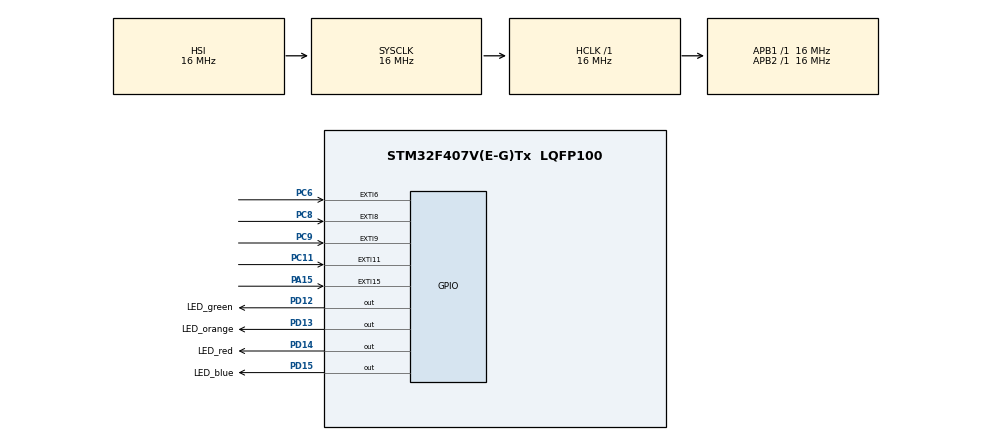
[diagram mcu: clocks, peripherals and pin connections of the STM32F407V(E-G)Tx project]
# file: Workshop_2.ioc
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Mcu.Family=STM32F4
Mcu.Name=STM32F407V(E-G)Tx
Mcu.Package=LQFP100
NVIC.EXTI15_10_IRQn=true\:0\:0\:false\:false\:true\:true\:true
NVIC.EXTI9_5_IRQn=true\:0\:0\:false\:false\:true\:true\:true
NVIC.PriorityGroup=NVIC_PRIORITYGROUP_4
PA15.GPIO_ModeDefaultEXTI=GPIO_MODE_IT_FALLING
PA15.Signal=GPXTI15
PC11.GPIO_ModeDefaultEXTI=GPIO_MODE_IT_FALLING
PC11.Signal=GPXTI11
PC6.GPIO_ModeDefaultEXTI=GPIO_MODE_IT_FALLING
PC6.Signal=GPXTI6
PC8.GPIO_ModeDefaultEXTI=GPIO_MODE_IT_FALLING
PC8.Signal=GPXTI8
PC9.GPIO_ModeDefaultEXTI=GPIO_MODE_IT_FALLING
PC9.Signal=GPXTI9
PD12.GPIO_Label=LED_green
PD12.Signal=GPIO_Output
PD13.GPIO_Label=LED_orange
PD13.Signal=GPIO_Output
PD14.GPIO_Label=LED_red
PD14.Signal=GPIO_Output
PD15.GPIO_Label=LED_blue
PD15.Signal=GPIO_Output
ProjectManager.HeapSize=0x200
ProjectManager.StackSize=0x400
ProjectManager.TargetToolchain=STM32CubeIDE
RCC.AHBFreq_Value=16000000
RCC.APB1Freq_Value=16000000
RCC.APB2Freq_Value=16000000
RCC.CortexFreq_Value=16000000
RCC.HSE_VALUE=25000000
RCC.HSI_VALUE=16000000
RCC.LSE_VALUE=32768
RCC.SYSCLKFreq_VALUE=16000000
RCC.VCOOutputFreq_Value=192000000
board=custom

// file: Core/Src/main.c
/* USER CODE BEGIN Header */
/**
  ******************************************************************************
  * @file           : main.c
  * @brief          : Main program body
  ******************************************************************************
  * @attention
  *
  * <h2><center>&copy; Copyright (c) 2021 STMicroelectronics.
  * All rights reserved.</center></h2>
  *
  * This software component is licensed by ST under BSD 3-Clause license,
  * the "License"; You may not use this file except in compliance with the
  * License. You may obtain a copy of the License at:
  *                        opensource.org/licenses/BSD-3-Clause
  *
  ******************************************************************************
  */
/* USER CODE END Header */
#include "main.h"

/* USER CODE BEGIN Includes */
#include "blink.h"
/* USER CODE END Includes */

/* USER CODE BEGIN PD */
#define SCHEME_NUM 3
/* USER CODE END PD */

void SystemClock_Config(void);
static void MX_GPIO_Init(void);

/* USER CODE BEGIN 0 */

volatile uint8_t current_scheme = 0;

volatile uint8_t stop_flag = 0;
volatile uint8_t change_flag = 0;
volatile uint32_t delay = 500;

void HAL_GPIO_EXTI_Callback(uint16_t GPIO_Pin)
{
	switch (GPIO_Pin)
	{
		case GPIO_PIN_11: //SW1 next
			if(current_scheme == SCHEME_NUM - 1) current_scheme = 0;
			else current_scheme++;
			change_flag = 1;
			break;
		case GPIO_PIN_9:  //SW3 prev
			if(current_scheme == 0) current_scheme = SCHEME_NUM - 1;
			else current_scheme--;
			change_flag = 1;
			break;
		case GPIO_PIN_6:  //SW4 speed up
			if((delay -= 50) < 50 ) delay = 50;

			break;
		case GPIO_PIN_8:  //SW5 speed down
			if((delay += 50) > 1000 )delay = 1000;

			break;
		case GPIO_PIN_15: //SW2 on/off
			if(stop_flag == 0) stop_flag = 1;
			else stop_flag = 0;
			break;
		default:
			break;
	}

}

/* USER CODE END 0 */

int main(void)
{
  /* USER CODE BEGIN 1 */
  void (*scheme_func_arr[3]) (volatile uint32_t *,volatile uint8_t *,volatile uint8_t *) = {blink_scheme_1,blink_scheme_2,blink_scheme_3};
  /* USER CODE END 1 */

  /* MCU Configuration--------------------------------------------------------*/

  /* Reset of all peripherals, Initializes the Flash interface and the Systick. */
  HAL_Init();

  /* Configure the system clock */
  SystemClock_Config();

  /* Initialize all configured peripherals */
  MX_GPIO_Init();

  /* Infinite loop */
  /* USER CODE BEGIN WHILE */

  while (1)
  {
	  scheme_func_arr[current_scheme](&delay,&stop_flag,&change_flag);
	  change_flag = 0;
    /* USER CODE END WHILE */

  }
}

void SystemClock_Config(void)
{
  RCC_OscInitTypeDef RCC_OscInitStruct = {0};
  RCC_ClkInitTypeDef RCC_ClkInitStruct = {0};

  /** Configure the main internal regulator output voltage
  */
  __HAL_RCC_PWR_CLK_ENABLE();
  __HAL_PWR_VOLTAGESCALING_CONFIG(PWR_REGULATOR_VOLTAGE_SCALE1);
  /** Initializes the RCC Oscillators according to the specified parameters
  * in the RCC_OscInitTypeDef structure.
  */
  RCC_OscInitStruct.OscillatorType = RCC_OSCILLATORTYPE_HSI;
  RCC_OscInitStruct.HSIState = RCC_HSI_ON;
  RCC_OscInitStruct.HSICalibrationValue = RCC_HSICALIBRATION_DEFAULT;
  RCC_OscInitStruct.PLL.PLLState = RCC_PLL_NONE;
  if (HAL_RCC_OscConfig(&RCC_OscInitStruct) != HAL_OK)
  {
    Error_Handler();
  }
  /** Initializes the CPU, AHB and APB buses clocks
  */
  RCC_ClkInitStruct.ClockType = RCC_CLOCKTYPE_HCLK|RCC_CLOCKTYPE_SYSCLK
                              |RCC_CLOCKTYPE_PCLK1|RCC_CLOCKTYPE_PCLK2;
  RCC_ClkInitStruct.SYSCLKSource = RCC_SYSCLKSOURCE_HSI;
  RCC_ClkInitStruct.AHBCLKDivider = RCC_SYSCLK_DIV1;
  RCC_ClkInitStruct.APB1CLKDivider = RCC_HCLK_DIV1;
  RCC_ClkInitStruct.APB2CLKDivider = RCC_HCLK_DIV1;

  if (HAL_RCC_ClockConfig(&RCC_ClkInitStruct, FLASH_LATENCY_0) != HAL_OK)
  {
    Error_Handler();
  }
}

static void MX_GPIO_Init(void)
{
  GPIO_InitTypeDef GPIO_InitStruct = {0};

  /* GPIO Ports Clock Enable */
  __HAL_RCC_GPIOD_CLK_ENABLE();
  __HAL_RCC_GPIOC_CLK_ENABLE();
  __HAL_RCC_GPIOA_CLK_ENABLE();

  /*Configure GPIO pin Output Level */
  HAL_GPIO_WritePin(GPIOD, LED_green_Pin|LED_orange_Pin|LED_red_Pin|LED_blue_Pin, GPIO_PIN_RESET);

  /*Configure GPIO pins : LED_green_Pin LED_orange_Pin LED_red_Pin LED_blue_Pin */
  GPIO_InitStruct.Pin = LED_green_Pin|LED_orange_Pin|LED_red_Pin|LED_blue_Pin;
  GPIO_InitStruct.Mode = GPIO_MODE_OUTPUT_PP;
  GPIO_InitStruct.Pull = GPIO_NOPULL;
  GPIO_InitStruct.Speed = GPIO_SPEED_FREQ_LOW;
  HAL_GPIO_Init(GPIOD, &GPIO_InitStruct);

  /*Configure GPIO pins : PC6 PC8 PC9 PC11 */
  GPIO_InitStruct.Pin = GPIO_PIN_6|GPIO_PIN_8|GPIO_PIN_9|GPIO_PIN_11;
  GPIO_InitStruct.Mode = GPIO_MODE_IT_FALLING;
  GPIO_InitStruct.Pull = GPIO_NOPULL;
  HAL_GPIO_Init(GPIOC, &GPIO_InitStruct);

  /*Configure GPIO pin : PA15 */
  GPIO_InitStruct.Pin = GPIO_PIN_15;
  GPIO_InitStruct.Mode = GPIO_MODE_IT_FALLING;
  GPIO_InitStruct.Pull = GPIO_NOPULL;
  HAL_GPIO_Init(GPIOA, &GPIO_InitStruct);

  /* EXTI interrupt init*/
  HAL_NVIC_SetPriority(EXTI9_5_IRQn, 0, 0);
  HAL_NVIC_EnableIRQ(EXTI9_5_IRQn);

  HAL_NVIC_SetPriority(EXTI15_10_IRQn, 0, 0);
  HAL_NVIC_EnableIRQ(EXTI15_10_IRQn);

}

void Error_Handler(void)
{
  __disable_irq();
  while (1)
  {
  }
}

/************************ (C) COPYRIGHT STMicroelectronics *****END OF FILE****/
